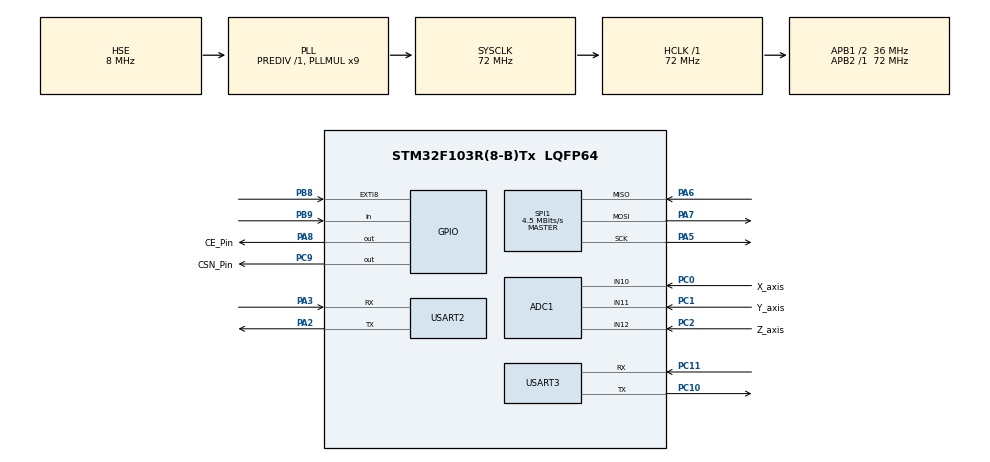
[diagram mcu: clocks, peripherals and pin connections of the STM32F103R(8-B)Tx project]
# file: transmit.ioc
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ADC1.Channel-0\#ChannelRegularConversion=ADC_CHANNEL_10
ADC1.Channel-1\#ChannelRegularConversion=ADC_CHANNEL_11
ADC1.Channel-2\#ChannelRegularConversion=ADC_CHANNEL_12
ADC1.ContinuousConvMode=DISABLE
ADC1.NbrOfConversion=3
ADC1.NbrOfConversionFlag=1
ADC1.Rank-0\#ChannelRegularConversion=1
ADC1.Rank-1\#ChannelRegularConversion=2
ADC1.Rank-2\#ChannelRegularConversion=3
ADC1.SamplingTime-0\#ChannelRegularConversion=ADC_SAMPLETIME_239CYCLES_5
ADC1.SamplingTime-1\#ChannelRegularConversion=ADC_SAMPLETIME_239CYCLES_5
ADC1.SamplingTime-2\#ChannelRegularConversion=ADC_SAMPLETIME_239CYCLES_5
ADC1.master=1
Dma.ADC1.0.Direction=DMA_PERIPH_TO_MEMORY
Dma.ADC1.0.Instance=DMA1_Channel1
Dma.ADC1.0.MemDataAlignment=DMA_MDATAALIGN_HALFWORD
Dma.ADC1.0.MemInc=DMA_MINC_ENABLE
Dma.ADC1.0.Mode=DMA_NORMAL
Dma.ADC1.0.PeriphDataAlignment=DMA_PDATAALIGN_HALFWORD
Dma.ADC1.0.PeriphInc=DMA_PINC_DISABLE
Dma.ADC1.0.Priority=DMA_PRIORITY_LOW
Dma.Request0=ADC1
Mcu.Family=STM32F1
Mcu.Name=STM32F103R(8-B)Tx
Mcu.Package=LQFP64
NVIC.ADC1_2_IRQn=true\:0\:0\:false\:false\:true\:true\:true\:true
NVIC.DMA1_Channel1_IRQn=true\:0\:0\:false\:false\:true\:false\:true\:true
NVIC.EXTI9_5_IRQn=true\:0\:0\:false\:false\:true\:true\:true\:true
NVIC.PriorityGroup=NVIC_PRIORITYGROUP_4
NVIC.TIM2_IRQn=true\:0\:0\:false\:false\:true\:true\:true\:true
NVIC.USART3_IRQn=true\:0\:0\:false\:false\:true\:true\:true\:true
PA2.Mode=Asynchronous
PA2.Signal=USART2_TX
PA3.Mode=Asynchronous
PA3.Signal=USART2_RX
PA5.Mode=Full_Duplex_Master
PA5.Signal=SPI1_SCK
PA6.Mode=Full_Duplex_Master
PA6.Signal=SPI1_MISO
PA7.Mode=Full_Duplex_Master
PA7.Signal=SPI1_MOSI
PA8.GPIO_Label=CE_Pin
PA8.Signal=GPIO_Output
PB8.GPIO_ModeDefaultEXTI=GPIO_MODE_IT_FALLING
PB8.GPIO_PuPd=GPIO_PULLUP
PB8.Signal=GPXTI8
PB9.GPIO_PuPd=GPIO_NOPULL
PB9.Signal=GPIO_Input
PC0.GPIO_Label=X_axis
PC0.Signal=ADCx_IN10
PC1.GPIO_Label=Y_axis
PC1.Signal=ADCx_IN11
PC10.Mode=Asynchronous
PC10.Signal=USART3_TX
PC11.Mode=Asynchronous
PC11.Signal=USART3_RX
PC14-OSC32_IN.Mode=LSE-External-Oscillator
PC14-OSC32_IN.Signal=RCC_OSC32_IN
PC15-OSC32_OUT.Mode=LSE-External-Oscillator
PC15-OSC32_OUT.Signal=RCC_OSC32_OUT
PC2.GPIO_Label=Z_axis
PC2.Signal=ADCx_IN12
PC9.GPIO_Label=CSN_Pin
PC9.Signal=GPIO_Output
PD0-OSC_IN.Mode=HSE-External-Clock-Source
PD0-OSC_IN.Signal=RCC_OSC_IN
PD1-OSC_OUT.Mode=HSE-External-Clock-Source
PD1-OSC_OUT.Signal=RCC_OSC_OUT
ProjectManager.HeapSize=0x200
ProjectManager.StackSize=0x400
ProjectManager.TargetToolchain=STM32CubeIDE
RCC.ADCPresc=RCC_ADCPCLK2_DIV6
RCC.AHBFreq_Value=72000000
RCC.APB1CLKDivider=RCC_HCLK_DIV2
RCC.APB1Freq_Value=36000000
RCC.APB1TimFreq_Value=72000000
RCC.APB2Freq_Value=72000000
RCC.APB2TimFreq_Value=72000000
RCC.HCLKFreq_Value=72000000
RCC.PLLMUL=RCC_PLL_MUL9
RCC.PLLSourceVirtual=RCC_PLLSOURCE_HSE
RCC.SYSCLKFreq_VALUE=72000000
RCC.SYSCLKSource=RCC_SYSCLKSOURCE_PLLCLK
RCC.USBFreq_Value=72000000
SH.ADCx_IN10.0=ADC1_IN10,IN10
SH.ADCx_IN11.0=ADC1_IN11,IN11
SH.ADCx_IN12.0=ADC1_IN12,IN12
SPI1.BaudRatePrescaler=SPI_BAUDRATEPRESCALER_16
SPI1.CalculateBaudRate=4.5 MBits/s
SPI1.Direction=SPI_DIRECTION_2LINES
SPI1.Mode=SPI_MODE_MASTER
SPI1.VirtualType=VM_MASTER
TIM2.Period=200-1
TIM2.Prescaler=7200-1
USART2.VirtualMode=VM_ASYNC
USART3.VirtualMode=VM_ASYNC
VP_SYS_VS_ND.Mode=No_Debug
VP_TIM2_VS_ClockSourceINT.Mode=Internal
board=custom

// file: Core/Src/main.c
/* USER CODE BEGIN Header */
/**
  ******************************************************************************
  * @file           : main.c
  * @brief          : Main program body
  ******************************************************************************
  * @attention
  *
  * Copyright (c) 2025 STMicroelectronics.
  * All rights reserved.
  *
  * This software is licensed under terms that can be found in the LICENSE file
  * in the root directory of this software component.
  * If no LICENSE file comes with this software, it is provided AS-IS.
  *
  ******************************************************************************
  */
/* USER CODE END Header */
#include "main.h"

/* USER CODE BEGIN Includes */
#include "NRF24.h"
#include "NRF24_conf.h"
#include "NRF24_reg_addresses.h"
#include "voice_proto.h"
#include "stdbool.h"
#include "stdlib.h"//절대값(abs)
#include "stdio.h" //snprintf를 사용해 uart로 메시지 디버깅 출력
#include "string.h" //memcpy함수를 사용하기 위해(volatile 변수를 복사)
/*memcpy함수: 특정 메모리 영역의 내용을 다른 메모리 영역으로 복사하는 함수로 sting.h 또는 memory.h에 정의됨,
void *memcpy(void *dest, const void *src, size_t count);의 형태로 사용됨*/
/* USER CODE END Includes */

/* USER CODE BEGIN PTD */
typedef enum { ST_IDLE=0, ST_JOYSTICK, ST_VOICE } ctrl_state_t;
typedef struct { uint16_t x,y,z; } triplet_t;
/* USER CODE END PTD */

/* USER CODE BEGIN PD */
#define ADC_MAX 4090
#define ADC_MIN 0
#define ADC_NEU 2045
#define ADC_DEAD_ZONE 300
/* USER CODE END PD */

ADC_HandleTypeDef hadc1;
DMA_HandleTypeDef hdma_adc1;

SPI_HandleTypeDef hspi1;

TIM_HandleTypeDef htim2;

UART_HandleTypeDef huart2;
UART_HandleTypeDef huart3;

/* USER CODE BEGIN PV */
//nRF24L01 송신 주소
uint8_t tx_address[5] = {0xE7, 0xE7, 0xE7, 0xE7, 0xE7};

// ADC DMA 버퍼 (DMA가 이곳에 ADC 결과값을 자동으로 저장합니다), 항상 메모리에서 업데이트(컴파일러 최적화x)
volatile uint16_t adc_buffer[3] = {0};	//ADC가 변환한 x, y, z값을 DMA가 담는 버퍼 - x, y, z 3개

// ADC 변환 완료 '깃발' (ISR이 Main 루프에게 데이터를 알리는 신호)
volatile uint8_t adc_conversion_complete = 0;	//ISR이 끝나면 이 변수 값을 1로, 항상 메모리에서 업데이트

volatile uint32_t g_stop_until_ms = 0;
volatile uint32_t last_pb8_press_time = 0;

// ===== 음성 & 상태 머신 =====
static uint8_t rx3_byte = 0;
static volatile ctrl_state_t g_state = ST_IDLE;
static uint8_t last_cmd = 0x03; // 기본 정지(STOP)

static const triplet_t VOICE_MAP[6] = {
/*0*/ {ADC_NEU,ADC_NEU,ADC_NEU},
/*1 FWD  */ {ADC_NEU,4090,ADC_NEU},
/*2 BACK */ {ADC_NEU,0,ADC_NEU},
/*3 STOP */ {ADC_NEU,ADC_NEU,ADC_NEU},
/*4 LEFT */ {0,ADC_NEU,ADC_NEU},
/*5 RIGHT*/ {4090,ADC_NEU,ADC_NEU},
};
/* USER CODE END PV */

void SystemClock_Config(void);
static void MX_GPIO_Init(void);
static void MX_DMA_Init(void);
static void MX_ADC1_Init(void);
static void MX_SPI1_Init(void);
static void MX_USART2_UART_Init(void);
static void MX_TIM2_Init(void);
static void MX_USART3_UART_Init(void);
/* USER CODE BEGIN PFP */
//함수 선언
static bool joystick_is_active(int x, int y, int z);
void nrf24_transmitter_setup(void);
void transmit_sensor_data(void);

/* USER CODE END PFP */

/* USER CODE BEGIN 0 */
int __io_putchar(int ch) {
    HAL_UART_Transmit(&huart2, (uint8_t*)&ch, 1, HAL_MAX_DELAY);
    return ch;
}
/* USER CODE END 0 */

int main(void)
{

  /* MCU Configuration--------------------------------------------------------*/

  /* Reset of all peripherals, Initializes the Flash interface and the Systick. */
  HAL_Init();

  /* Configure the system clock */
  SystemClock_Config();

  /* Initialize all configured peripherals */
  MX_GPIO_Init();
  MX_DMA_Init();
  MX_ADC1_Init();
  MX_SPI1_Init();
  MX_USART2_UART_Init();
  MX_TIM2_Init();
  MX_USART3_UART_Init();
  /* USER CODE BEGIN 2 */
  nrf24_init();
  nrf24_transmitter_setup();

  // 음성 통신 프로토콜 초기화 및 UART 수신 인터럽트 시작
  Voice_Init();
  HAL_UART_Receive_IT(&huart3, &rx3_byte, 1);

  //ADC 캘리브레이션: MCU내부의 미세 오차를 보정
  HAL_ADCEx_Calibration_Start(&hadc1);

  //타이머 인터럽트 시작 20ms마다
  HAL_TIM_Base_Start_IT(&htim2);

  /* USER CODE END 2 */

  /* Infinite loop */
  /* USER CODE BEGIN WHILE */
  while (1)
  {
	  if(adc_conversion_complete){	//DMA가 메모리 저장을 완료하여 콜백함수에 의해 adc_conversion_complete = 1이 되어 조건이 참이된다면
		  transmit_sensor_data();
	  }

	  __WFI();
    /* USER CODE END WHILE */

  }
}

void SystemClock_Config(void)
{
  RCC_OscInitTypeDef RCC_OscInitStruct = {0};
  RCC_ClkInitTypeDef RCC_ClkInitStruct = {0};
  RCC_PeriphCLKInitTypeDef PeriphClkInit = {0};

  /** Initializes the RCC Oscillators according to the specified parameters
  * in the RCC_OscInitTypeDef structure.
  */
  RCC_OscInitStruct.OscillatorType = RCC_OSCILLATORTYPE_HSE;
  RCC_OscInitStruct.HSEState = RCC_HSE_BYPASS;
  RCC_OscInitStruct.HSEPredivValue = RCC_HSE_PREDIV_DIV1;
  RCC_OscInitStruct.HSIState = RCC_HSI_ON;
  RCC_OscInitStruct.PLL.PLLState = RCC_PLL_ON;
  RCC_OscInitStruct.PLL.PLLSource = RCC_PLLSOURCE_HSE;
  RCC_OscInitStruct.PLL.PLLMUL = RCC_PLL_MUL9;
  if (HAL_RCC_OscConfig(&RCC_OscInitStruct) != HAL_OK)
  {
    Error_Handler();
  }

  /** Initializes the CPU, AHB and APB buses clocks
  */
  RCC_ClkInitStruct.ClockType = RCC_CLOCKTYPE_HCLK|RCC_CLOCKTYPE_SYSCLK
                              |RCC_CLOCKTYPE_PCLK1|RCC_CLOCKTYPE_PCLK2;
  RCC_ClkInitStruct.SYSCLKSource = RCC_SYSCLKSOURCE_PLLCLK;
  RCC_ClkInitStruct.AHBCLKDivider = RCC_SYSCLK_DIV1;
  RCC_ClkInitStruct.APB1CLKDivider = RCC_HCLK_DIV2;
  RCC_ClkInitStruct.APB2CLKDivider = RCC_HCLK_DIV1;

  if (HAL_RCC_ClockConfig(&RCC_ClkInitStruct, FLASH_LATENCY_2) != HAL_OK)
  {
    Error_Handler();
  }
  PeriphClkInit.PeriphClockSelection = RCC_PERIPHCLK_ADC;
  PeriphClkInit.AdcClockSelection = RCC_ADCPCLK2_DIV6;
  if (HAL_RCCEx_PeriphCLKConfig(&PeriphClkInit) != HAL_OK)
  {
    Error_Handler();
  }
}

static void MX_ADC1_Init(void)
{

  ADC_ChannelConfTypeDef sConfig = {0};

  /** Common config
  */
  hadc1.Instance = ADC1;
  hadc1.Init.ScanConvMode = ADC_SCAN_ENABLE;
  hadc1.Init.ContinuousConvMode = DISABLE;
  hadc1.Init.DiscontinuousConvMode = DISABLE;
  hadc1.Init.ExternalTrigConv = ADC_SOFTWARE_START;
  hadc1.Init.DataAlign = ADC_DATAALIGN_RIGHT;
  hadc1.Init.NbrOfConversion = 3;
  if (HAL_ADC_Init(&hadc1) != HAL_OK)
  {
    Error_Handler();
  }

  /** Configure Regular Channel
  */
  sConfig.Channel = ADC_CHANNEL_10;
  sConfig.Rank = ADC_REGULAR_RANK_1;
  sConfig.SamplingTime = ADC_SAMPLETIME_239CYCLES_5;
  if (HAL_ADC_ConfigChannel(&hadc1, &sConfig) != HAL_OK)
  {
    Error_Handler();
  }

  /** Configure Regular Channel
  */
  sConfig.Channel = ADC_CHANNEL_11;
  sConfig.Rank = ADC_REGULAR_RANK_2;
  if (HAL_ADC_ConfigChannel(&hadc1, &sConfig) != HAL_OK)
  {
    Error_Handler();
  }

  /** Configure Regular Channel
  */
  sConfig.Channel = ADC_CHANNEL_12;
  sConfig.Rank = ADC_REGULAR_RANK_3;
  if (HAL_ADC_ConfigChannel(&hadc1, &sConfig) != HAL_OK)
  {
    Error_Handler();
  }

}

static void MX_SPI1_Init(void)
{

  /* SPI1 parameter configuration*/
  hspi1.Instance = SPI1;
  hspi1.Init.Mode = SPI_MODE_MASTER;
  hspi1.Init.Direction = SPI_DIRECTION_2LINES;
  hspi1.Init.DataSize = SPI_DATASIZE_8BIT;
  hspi1.Init.CLKPolarity = SPI_POLARITY_LOW;
  hspi1.Init.CLKPhase = SPI_PHASE_1EDGE;
  hspi1.Init.NSS = SPI_NSS_SOFT;
  hspi1.Init.BaudRatePrescaler = SPI_BAUDRATEPRESCALER_16;
  hspi1.Init.FirstBit = SPI_FIRSTBIT_MSB;
  hspi1.Init.TIMode = SPI_TIMODE_DISABLE;
  hspi1.Init.CRCCalculation = SPI_CRCCALCULATION_DISABLE;
  hspi1.Init.CRCPolynomial = 10;
  if (HAL_SPI_Init(&hspi1) != HAL_OK)
  {
    Error_Handler();
  }

}

static void MX_TIM2_Init(void)
{

  TIM_ClockConfigTypeDef sClockSourceConfig = {0};
  TIM_MasterConfigTypeDef sMasterConfig = {0};

  htim2.Instance = TIM2;
  htim2.Init.Prescaler = 7200-1;
  htim2.Init.CounterMode = TIM_COUNTERMODE_UP;
  htim2.Init.Period = 200-1;
  htim2.Init.ClockDivision = TIM_CLOCKDIVISION_DIV1;
  htim2.Init.AutoReloadPreload = TIM_AUTORELOAD_PRELOAD_DISABLE;
  if (HAL_TIM_Base_Init(&htim2) != HAL_OK)
  {
    Error_Handler();
  }
  sClockSourceConfig.ClockSource = TIM_CLOCKSOURCE_INTERNAL;
  if (HAL_TIM_ConfigClockSource(&htim2, &sClockSourceConfig) != HAL_OK)
  {
    Error_Handler();
  }
  sMasterConfig.MasterOutputTrigger = TIM_TRGO_RESET;
  sMasterConfig.MasterSlaveMode = TIM_MASTERSLAVEMODE_DISABLE;
  if (HAL_TIMEx_MasterConfigSynchronization(&htim2, &sMasterConfig) != HAL_OK)
  {
    Error_Handler();
  }

}

static void MX_USART2_UART_Init(void)
{

  huart2.Instance = USART2;
  huart2.Init.BaudRate = 115200;
  huart2.Init.WordLength = UART_WORDLENGTH_8B;
  huart2.Init.StopBits = UART_STOPBITS_1;
  huart2.Init.Parity = UART_PARITY_NONE;
  huart2.Init.Mode = UART_MODE_TX_RX;
  huart2.Init.HwFlowCtl = UART_HWCONTROL_NONE;
  huart2.Init.OverSampling = UART_OVERSAMPLING_16;
  if (HAL_UART_Init(&huart2) != HAL_OK)
  {
    Error_Handler();
  }

}

static void MX_USART3_UART_Init(void)
{

  huart3.Instance = USART3;
  huart3.Init.BaudRate = 115200;
  huart3.Init.WordLength = UART_WORDLENGTH_8B;
  huart3.Init.StopBits = UART_STOPBITS_1;
  huart3.Init.Parity = UART_PARITY_NONE;
  huart3.Init.Mode = UART_MODE_TX_RX;
  huart3.Init.HwFlowCtl = UART_HWCONTROL_NONE;
  huart3.Init.OverSampling = UART_OVERSAMPLING_16;
  if (HAL_UART_Init(&huart3) != HAL_OK)
  {
    Error_Handler();
  }

}

static void MX_DMA_Init(void)
{

  /* DMA controller clock enable */
  __HAL_RCC_DMA1_CLK_ENABLE();

  /* DMA interrupt init */
  /* DMA1_Channel1_IRQn interrupt configuration */
  HAL_NVIC_SetPriority(DMA1_Channel1_IRQn, 0, 0);
  HAL_NVIC_EnableIRQ(DMA1_Channel1_IRQn);

}

static void MX_GPIO_Init(void)
{
  GPIO_InitTypeDef GPIO_InitStruct = {0};

  /* GPIO Ports Clock Enable */
  __HAL_RCC_GPIOC_CLK_ENABLE();
  __HAL_RCC_GPIOD_CLK_ENABLE();
  __HAL_RCC_GPIOA_CLK_ENABLE();
  __HAL_RCC_GPIOB_CLK_ENABLE();

  /*Configure GPIO pin Output Level */
  HAL_GPIO_WritePin(CSN_Pin_GPIO_Port, CSN_Pin_Pin, GPIO_PIN_RESET);

  /*Configure GPIO pin Output Level */
  HAL_GPIO_WritePin(CE_Pin_GPIO_Port, CE_Pin_Pin, GPIO_PIN_RESET);

  /*Configure GPIO pin : CSN_Pin_Pin */
  GPIO_InitStruct.Pin = CSN_Pin_Pin;
  GPIO_InitStruct.Mode = GPIO_MODE_OUTPUT_PP;
  GPIO_InitStruct.Pull = GPIO_NOPULL;
  GPIO_InitStruct.Speed = GPIO_SPEED_FREQ_LOW;
  HAL_GPIO_Init(CSN_Pin_GPIO_Port, &GPIO_InitStruct);

  /*Configure GPIO pin : CE_Pin_Pin */
  GPIO_InitStruct.Pin = CE_Pin_Pin;
  GPIO_InitStruct.Mode = GPIO_MODE_OUTPUT_PP;
  GPIO_InitStruct.Pull = GPIO_NOPULL;
  GPIO_InitStruct.Speed = GPIO_SPEED_FREQ_LOW;
  HAL_GPIO_Init(CE_Pin_GPIO_Port, &GPIO_InitStruct);

  /*Configure GPIO pin : PB8 */
  GPIO_InitStruct.Pin = GPIO_PIN_8;
  GPIO_InitStruct.Mode = GPIO_MODE_IT_FALLING;
  GPIO_InitStruct.Pull = GPIO_PULLUP;
  HAL_GPIO_Init(GPIOB, &GPIO_InitStruct);

  /*Configure GPIO pin : PB9 */
  GPIO_InitStruct.Pin = GPIO_PIN_9;
  GPIO_InitStruct.Mode = GPIO_MODE_INPUT;
  GPIO_InitStruct.Pull = GPIO_NOPULL;
  HAL_GPIO_Init(GPIOB, &GPIO_InitStruct);

  /* EXTI interrupt init*/
  HAL_NVIC_SetPriority(EXTI9_5_IRQn, 0, 0);
  HAL_NVIC_EnableIRQ(EXTI9_5_IRQn);

}

/* USER CODE BEGIN 4 */
static bool joystick_is_active(int x, int y, int z) {
    return (abs(x - ADC_NEU) > ADC_DEAD_ZONE) ||
           (abs(y - ADC_NEU) > ADC_DEAD_ZONE) ||
           (abs(z - ADC_NEU) > ADC_DEAD_ZONE);
}

void nrf24_transmitter_setup(void)
{
    nrf24_defaults();                //레지스터 기본값으로 초기화
    HAL_Delay(5);
    nrf24_pwr_up();
    HAL_Delay(2);
    nrf24_flush_tx();
    nrf24_flush_rx();
    nrf24_clear_rx_dr();
    nrf24_clear_tx_ds();
    nrf24_clear_max_rt();
    nrf24_stop_listen();             //수신모드 비활성화 하여 송신 전용 모드로 전환

    nrf24_set_channel(40);           //무선 채널 40번으로 설정
    nrf24_auto_ack_all(disable);     //자동 ack기능 off=>단순 송신만 수행
    nrf24_set_payload_size(6);      //한번에 전송할 페이로드 크기 최대 32바이트
    nrf24_tx_pwr(3);
    nrf24_data_rate(_1mbps);
    nrf24_open_tx_pipe(tx_address);  //파이프 0에 tx_address를 열어 송신 대상 지정
}

void transmit_sensor_data(void){
	adc_conversion_complete = 0;

	// 1. 최신 ADC 값 안전하게 복사
	uint16_t local_adc_buffer[3];
	__disable_irq();
	memcpy(local_adc_buffer, (void*)adc_buffer, sizeof(adc_buffer));
	__enable_irq();

	uint16_t x = local_adc_buffer[0];
	uint16_t y = local_adc_buffer[1];
	uint16_t z = local_adc_buffer[2];

	uint32_t current_time = HAL_GetTick();

	if(g_stop_until_ms !=0){
		if(current_time < g_stop_until_ms){
			x = ADC_NEU;
			y = ADC_NEU;
			z = ADC_NEU;

			g_state = ST_IDLE;
			last_cmd = 0x03;
		}
		else{
			g_stop_until_ms = 0;
		}
	}

	if(g_stop_until_ms == 0){
	// 2. 조이스틱 활성 상태 판정
	bool active = joystick_is_active((int)x,(int)y,(int)z);

	// 3. (조이스틱이 중립일 때만) 음성 프레임 처리
	if (!active && Voice_FrameAvailable()){
		voice_frame_t vf;
		__disable_irq();
		bool ok = Voice_TryPopFrame(&vf);
		__enable_irq();
		if (ok && vf.cmd >= 0x01 && vf.cmd <= 0x05){
		  last_cmd = vf.cmd;
		  g_state  = ST_VOICE; // 음성 모드 진입
		}
	}

	// 4. 상태머신으로 이번 주기 전송값 결정
	uint16_t tx_x = ADC_NEU, tx_y = ADC_NEU, tx_z = ADC_NEU;

	switch (g_state)
	{
		case ST_IDLE:
		  if (active) g_state = ST_JOYSTICK;
		  break;
		case ST_JOYSTICK:
		  if (!active){
			g_state = ST_IDLE;
		  } else {
			tx_x = x; tx_y = y; tx_z = z;
		  }
		  break;
		case ST_VOICE:
		default:
		  if (active){
			g_state = ST_JOYSTICK;
			tx_x = x; tx_y = y; tx_z = z;
		  } else {
			triplet_t t = VOICE_MAP[last_cmd];
			tx_x = t.x; tx_y = t.y; tx_z = t.z;
		  }
		  break;
	}
	x = tx_x; y = tx_y; z = tx_z;
	}

	// 5. 6바이트 2진 패킹 (버그 수정됨)
	uint8_t payload[6];
	payload[0] = (uint8_t)(x & 0xff);	//x하위8비트
	payload[1] = (uint8_t)(x >> 8);		//x상위8비트
	payload[2] = (uint8_t)(y & 0xff);	//y하위8비트
	payload[3] = (uint8_t)(y >> 8);		//y상위8비트
	payload[4] = (uint8_t)(z & 0xff);	//z하위8비트
	payload[5] = (uint8_t)(z >> 8);		//z상위8비트

	//최종 데이터 발송
	nrf24_transmit(payload, 6);

	//uart디버깅
	char dbg_buf[64];
	const char* s;
	if (g_state == ST_JOYSTICK) {
	    s = "JOY";
	} else if (g_state == ST_VOICE) {
	    s = "VOICE";
	} else {
	    s = "IDLE";
	}
	int len = snprintf(dbg_buf, sizeof(dbg_buf), "STATE:[%s] -> TX: X:%u Y:%u Z:%u\r\n", s, x, y, z);
	HAL_UART_Transmit(&huart2, (uint8_t*)dbg_buf, len, 50);
}

void HAL_GPIO_EXTI_Callback(uint16_t GPIO_Pin)
{
	if(GPIO_Pin == GPIO_PIN_8){
		uint32_t current_time = HAL_GetTick();
		if(current_time - last_pb8_press_time < 300){
			return;
		}
		last_pb8_press_time = current_time;

		g_stop_until_ms = current_time + 3000;
	}
}

// UART3 수신 완료 콜백 (음성 데이터 처리)
void HAL_UART_RxCpltCallback(UART_HandleTypeDef *huart)
{
    if (huart == &huart3) {
        // 음성 프로토콜에 수신된 바이트 전달
    	Voice_RxByteFromIRQ(rx3_byte);

        // 다음 바이트 수신을 위해 인터럽트 재시작
        HAL_UART_Receive_IT(&huart3, &rx3_byte, 1);
    }
}

//타이머가 만료될 때마다 호출되는 콜백함수 20ms주기
void HAL_TIM_PeriodElapsedCallback(TIM_HandleTypeDef *htim)
{
    // 이벤트가 발생한 타이머가 TIM2인지 확인
    if (htim->Instance == TIM2)
    {
    	//3개의 ADC값을 변환해서 그 결과를 adc_buffer에 DMA로 저장 시작
        HAL_ADC_Start_DMA(&hadc1, (uint32_t*)adc_buffer, 3);
    }
}

//위 HAL_TIM_PeriodElapsedCallback 콜백함수에 의해 ADC와 DMA가 3개의 채널 변환 및 메모리 저장 완료 후 콜백, 데이터수집 완료
void HAL_ADC_ConvCpltCallback(ADC_HandleTypeDef *hadc)
{
    // 이벤트가 발생한 ADC가 ADC1인지 확인
    if (hadc->Instance == ADC1)
    {
        // Main루프의 if문 조건이 참이 되어 transmit_sensor_data함수호출
        adc_conversion_complete = 1;
    }
}

//ADC변환 중 오류가 발생했을 때 자동으로 호출, DMA전송을 중지
void HAL_ADC_ErrorCallback(ADC_HandleTypeDef *hadc)
{
    if (hadc->Instance == ADC1)
    {
        // ADC 오류 발생 시, 진행 중이던 DMA를 안전하게 중지
        // 다음 타이머 주기(20ms 후)에 HAL_ADC_Start_DMA가 다시 호출되며 자동으로 복구를 시도함
        HAL_ADC_Stop_DMA(&hadc1);
    }
}

/* USER CODE END 4 */

void Error_Handler(void)
{
  __disable_irq();
  while (1)
  {
  }
}
